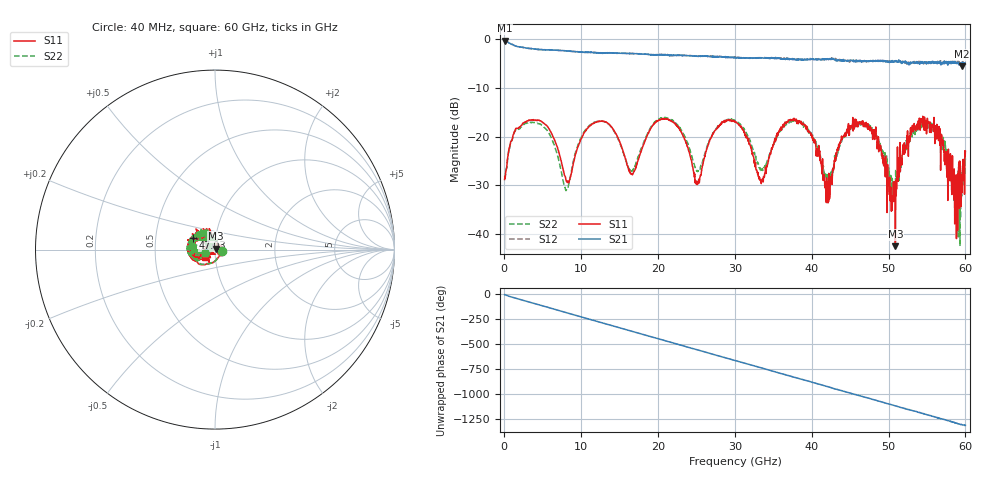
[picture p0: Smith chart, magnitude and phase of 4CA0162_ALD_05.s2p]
! File created by 'SoftPlot +Plus+ Measurement Management Software'
! SoftPlot +Plus+ Measurement Management Software
! Start 40.000000 MHz  Stop 60.000000 GHz  Points 1601
# MHZ S RI R 50
! S-Parameter data, F S11 S21 S12 S22
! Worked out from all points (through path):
!   1601 points, 40 MHz to 60 GHz, reference 50 ohm
!   highest |S21| = -0.37 dB at 40 MHz (marker M1); lowest = -5.7 dB at 59.55 GHz (marker M2)
!   group delay of S21, straight-line fit = 60.8 ps
!   lowest |S11| = -42.4 dB at 50.89 GHz (marker M3), VSWR 1.02, Z = 50.5 + j0.587 ohm
!   |S11| at or under -10 dB: start of sweep to end of sweep
!   |S22| runs from -42.4 to -16.1 dB; largest |S21 - S12| = 0.07
!   S11 on the Smith chart (normalised r, x): 40 MHz: 1.07, -0.02; 47.03 GHz: 0.78, +0.10; 60 GHz: 0.89, -0.08
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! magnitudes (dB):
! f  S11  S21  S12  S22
! 40 MHz  -28.8  -0.4  -0.4  -28.2
! 2.888 GHz  -16.9  -1.9  -1.9  -17.2
! 8.06 GHz  -29.1  -2.5  -2.5  -31.0
! 10.05 GHz  -20.4  -2.8  -2.7  -20.1
! 13.42 GHz  -17.2  -2.9  -2.9  -17.3
! 16.64 GHz  -27.8  -3.0  -3.0  -27.0
! 20.05 GHz  -16.8  -3.3  -3.3  -16.5
! 25.11 GHz  -29.8  -3.6  -3.6  -27.1
! 30.02 GHz  -16.9  -3.8  -3.8  -16.7
! 33.39 GHz  -29.2  -3.9  -3.9  -26.7
! 36.77 GHz  -17.0  -4.1  -3.9  -17.3
! 40.03 GHz  -19.7  -4.1  -4.2  -19.7
! 42.09 GHz  -29.2  -4.2  -4.1  -29.6
! 43.96 GHz  -20.2  -4.6  -4.5  -20.5
! 47.03 GHz  -17.2  -4.5  -4.7  -17.6
! 50.03 GHz  -28.9  -4.6  -4.6  -27.2
! 50.89 GHz  -42.4  -4.5  -4.6  -30.4
! 54.15 GHz  -16.3  -5.0  -4.8  -17.9
! 57.3 GHz  -23.6  -4.9  -5.0  -21.2
! 58.84 GHz  -40.9  -5.1  -4.5  -36.9
! 59.55 GHz  -31.5  -5.7  -5.0  -30.2
! 60 GHz  -23.0  -5.2  -5.1  -24.7
